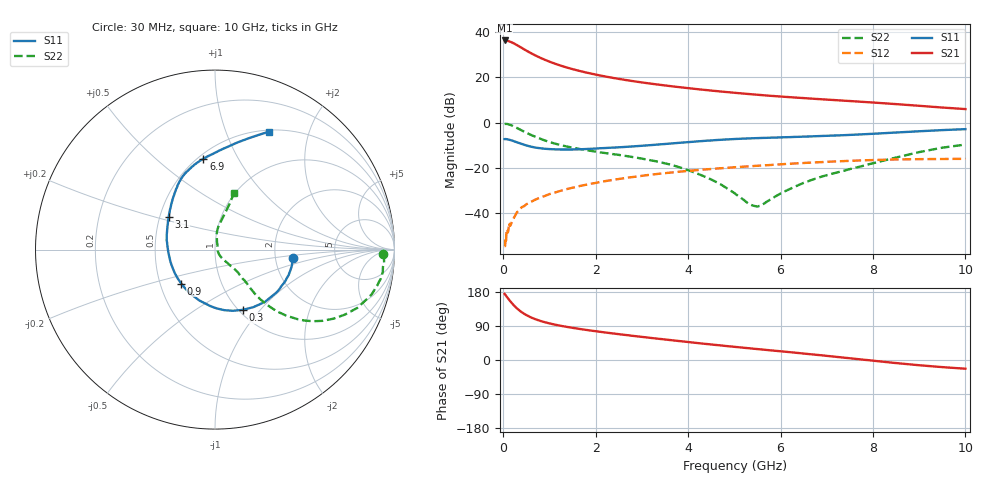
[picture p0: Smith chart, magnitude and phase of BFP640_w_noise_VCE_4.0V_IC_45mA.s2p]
! Infineon Technologies  Discrete & RF Semiconductors
! BFP640
! VCE =  4.0 V,  IC =  45 mA
! Common Emitter S-Parameters:  Apr 2013
# GHz  S  MA  R  50
!  f  S11  S21  S12  S22
! GHz  MAG  ANG  MAG  ANG  MAG  ANG  MAG  ANG
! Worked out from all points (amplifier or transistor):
!   99 points, 30 MHz to 10 GHz, reference 50 ohm
!   highest |S21| = 36.3 dB at 30 MHz (marker M1)
!   |S21| within 3 dB of that: start of sweep to 376.9 MHz
!   unconditionally stable (mu >= 1): 1.768 GHz to end of sweep
!   at 350 MHz: K = 0.50, MSG = 36.0 dB, |S12| = -38.5 dB
!   at 3.5 GHz: K = 1.06, MAG = 17.8 dB, |S12| = -22.2 dB
!   at 10 GHz: K = 1.06, MAG = 9.5 dB, |S12| = -15.9 dB
!   lowest NFmin = 1.34 dB at 450 MHz
!   S11 on the Smith chart (normalised r, x): 30 MHz: 2.50, -0.30; 300 MHz: 1.04, -0.81; 900 MHz: 0.64, -0.26; 3.1 GHz: 0.56, +0.23; 6.9 GHz: 0.53, +0.73; 10 GHz: 0.52, +1.43
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0.03  0.4355 -6.3  65.19 174.4  0.0019 63.6  0.9381 -1.4
0.08  0.4339 -19.2  64.42 166.4  0.0039 77.9  0.9405 -8.6
0.15  0.4163 -35.6  61.17 155.4  0.0053 72.6  0.8975 -17.2
0.2  0.4028 -46.4  58.13 148.2  0.0069 73.5  0.8565 -22.3
0.25  0.3854 -56.3  54.86 141.7  0.0087 70.0  0.8092 -26.6
0.3  0.3698 -65.2  51.31 135.9  0.0107 69.3  0.7633 -30.3
0.35  0.3554 -73.6  47.86 130.8  0.0119 68.3  0.7191 -33.5
0.45  0.328 -88.3  41.7 122.2  0.0145 66.8  0.6385 -38.3
0.5  0.3159 -94.7  38.98 118.6  0.0159 66.5  0.6024 -40.1
0.6  0.297 -106.9  34.21 112.4  0.018 65.7  0.5394 -42.9
0.7  0.2829 -117.2  30.31 107.5  0.0203 65.4  0.4879 -44.9
0.9  0.2668 -134.9  24.48 99.7  0.0243 64.9  0.4074 -47.0
1.2  0.2576 -154.7  18.8 91.3  0.0307 63.8  0.3298 -47.9
1.7  0.2611 -178.0  13.49 81.1  0.0412 60.9  0.2587 -46.6
2.3  0.2809 163.3  10.06 71.2  0.0534 57.2  0.2082 -46.0
3.1  0.3158 144.7  7.497 59.6  0.0697 50.8  0.1553 -44.9
3.4  0.3344 138.7  6.838 55.5  0.0755 48.1  0.1343 -46.1
5.1  0.4419 114.6  4.487 33.6  0.1058 33.2  0.0236 -41.2
6.7  0.5023 99.5  3.39 14.6  0.1328 19.0  0.0561 79.0
6.9  0.5111 97.3  3.288 12.2  0.1359 17.1  0.0654 81.0
8.5  0.6089 78.3  2.575 -8.1  0.1549 0.9  0.1711 77.3
10  0.7227 65.4  2.002 -23.0  0.1601 -11.2  0.3306 71.6
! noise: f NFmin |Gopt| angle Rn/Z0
0.45  1.34  0.29  -171  0.08
0.9  1.35  0.32  -158  0.09
1.5  1.36  0.35  -145  0.12
1.9  1.39  0.36  222  0.14
2.4  1.47  0.38  -126  0.16
3.5  1.6  0.42  -109  0.2
5.5  1.85  0.45  -92  0.34
10  2.45  0.65  -47  0.99
